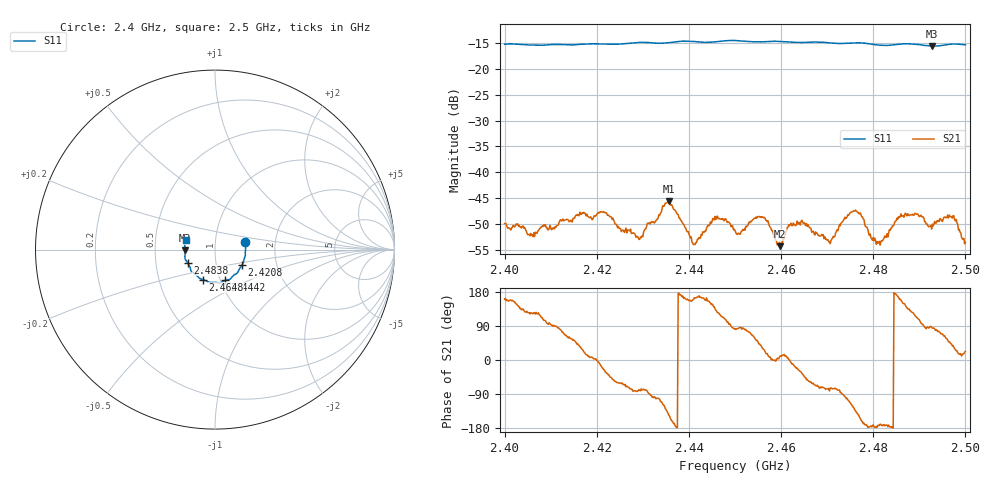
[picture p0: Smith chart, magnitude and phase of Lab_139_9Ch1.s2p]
# Hz S RI R 50
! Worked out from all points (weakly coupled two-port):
!   601 points, 2.4 GHz to 2.5 GHz, reference 50 ohm
!   highest |S21| = -45.64 dB at 2.4357 GHz (marker M1); lowest = -54.3 dB at 2.4598 GHz (marker M2)
!   lowest |S11| = -15.6 dB at 2.4928 GHz (marker M3), VSWR 1.40, Z = 35.8 - j0.355 ohm
!   |S11| at or under -10 dB: start of sweep to end of sweep
!   S12 and S22 are empty: the file has one direction only
!   S11 on the Smith chart (normalised r, x): 2.4 GHz: 1.40, +0.12; 2.4208 GHz: 1.33, -0.24; 2.4442 GHz: 1.05, -0.37; 2.4648 GHz: 0.83, -0.28; 2.4838 GHz: 0.73, -0.11; 2.5 GHz: 0.72, +0.08
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2.4e9  0.168 0.0409  -0.00301 0.00106  0 0  0 0
2.406e9  0.1701 -0.000297  -0.00134 0.00209  0 0  0 0
2.416667e9  0.1589 -0.0683  0.00339 0.00198  0 0  0 0
2.420833e9  0.1508 -0.0872  0.00403 -0.00103  0 0  0 0
2.429e9  0.1271 -0.1272  0.000343 -0.0023  0 0  0 0
2.433333e9  0.1079 -0.1402  -0.000697 -0.00357  0 0  0 0
2.435667e9  0.0958 -0.1514  -0.00433 -0.00292  0 0  0 0
2.441167e9  0.0768 -0.1669  -0.00193 0.000556  0 0  0 0
2.444167e9  0.0567 -0.1712  -0.0028 0.00128  0 0  0 0
2.45e9  0.0246 -0.1864  0.000323 0.00272  0 0  0 0
2.456e9  -0.0141 -0.1819  0.00316 0.0019  0 0  0 0
2.459833e9  -0.0346 -0.181  0.0019 0.000357  0 0  0 0
2.464833e9  -0.0684 -0.1666  0.00246 -0.00207  0 0  0 0
2.466667e9  -0.0801 -0.1627  0.00123 -0.00232  0 0  0 0
2.470667e9  -0.0954 -0.1506  0.000557 -0.00197  0 0  0 0
2.476e9  -0.1274 -0.124  -0.00282 -0.00315  0 0  0 0
2.481e9  -0.1396 -0.0969  -0.00203 -0.000268  0 0  0 0
2.483333e9  -0.1505 -0.0763  -0.00255 -0.000364  0 0  0 0
2.483833e9  -0.1532 -0.0721  -0.00287 -0.000129  0 0  0 0
2.492833e9  -0.1659 -0.00483  0.0003 0.00314  0 0  0 0
2.497e9  -0.1703 0.0324  0.00275 0.00249  0 0  0 0
2.5e9  -0.1626 0.0528  0.00194 0.000818  0 0  0 0
